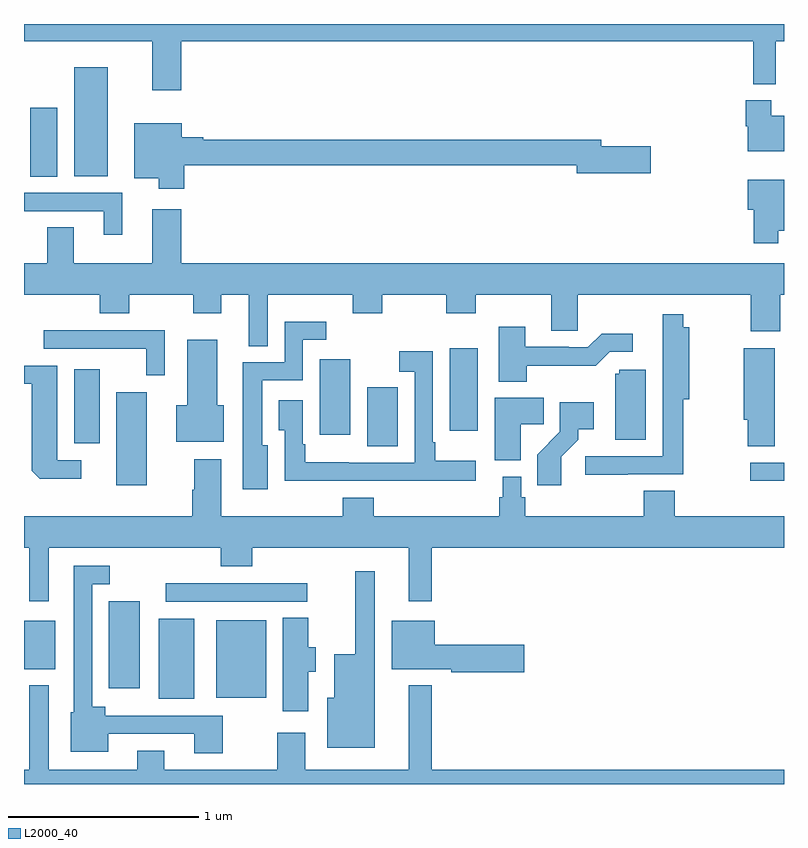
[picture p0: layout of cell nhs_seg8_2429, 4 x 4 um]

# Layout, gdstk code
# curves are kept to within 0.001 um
import gdstk
lib = gdstk.Library(unit=1e-6, precision=1e-09)
def R(c, l, rs):  # rectangles x0, y0, x1, y1
    for r in rs: c.add(gdstk.rectangle(r[:2], r[2:], *l))
def P(c, l, *ps):  # polygons
    for p in ps: c.add(gdstk.Polygon(p, *l))
L2000_40 = (2000, 40)

nhs_seg8_2429 = lib.new_cell('nhs_seg8_2429')
R(nhs_seg8_2429, L2000_40, [(263.708,1138.349,263.896,1138.771), (264.011,1138.355,264.274,1138.762), (263.447,1138.404,263.608,1138.861), (263,1138.505,263.164,1138.759), (263.745,1138.86,264.49,1138.956), (263.486,1139.472,263.647,1139.962), (266.823,1139.496,267,1139.592), (264.806,1139.677,264.967,1139.988), (263.264,1139.694,263.398,1140.082), (264.557,1139.739,264.718,1140.136), (265.241,1139.76,265.387,1140.193), (263.033,1141.096,263.176,1141.459), (263.264,1141.1,263.44,1141.672)])
P(nhs_seg8_2429, L2000_40, [(263,1141.808),(263.675,1141.808),(263.675,1141.551),(263.828,1141.551),(263.828,1141.808),(266.839,1141.808),(266.839,1141.583),(266.957,1141.583),(266.957,1141.808),(267,1141.808),(267,1141.9),(263,1141.9)],
  [(267,1141.417),(266.932,1141.417),(266.932,1141.498),(266.798,1141.498),(266.798,1141.362),(266.81,1141.362),(266.81,1141.229),(267,1141.229)],
  [(263.843,1141.156),(265.91,1141.156),(265.91,1141.114),(266.299,1141.114),(266.299,1141.256),(266.038,1141.256),(266.038,1141.292),(263.944,1141.292),(263.944,1141.303),(263.83,1141.303),(263.83,1141.378),(263.579,1141.378),(263.579,1141.088),(263.708,1141.088),(263.708,1141.034),(263.843,1141.034)],
  [(266.971,1140.812),(267,1140.812),(267,1141.081),(266.808,1141.081),(266.808,1140.923),(266.842,1140.923),(266.842,1140.747),(266.971,1140.747)],
  [(263.518,1141.011),(263,1141.011),(263,1140.915),(263.42,1140.915),(263.42,1140.792),(263.518,1140.792)],
  [(264.283,1140.476),(264.73,1140.476),(264.73,1140.377),(264.885,1140.377),(264.885,1140.476),(265.222,1140.476),(265.222,1140.377),(265.377,1140.377),(265.377,1140.476),(265.775,1140.476),(265.775,1140.286),(265.914,1140.286),(265.914,1140.476),(266.824,1140.476),(266.824,1140.282),(266.979,1140.282),(266.979,1140.476),(267,1140.476),(267,1140.64),(263.828,1140.64),(263.828,1140.925),(263.675,1140.925),(263.675,1140.64),(263.263,1140.64),(263.263,1140.83),(263.123,1140.83),(263.123,1140.64),(263,1140.64),(263,1140.476),(263.398,1140.476),(263.398,1140.377),(263.553,1140.377),(263.553,1140.476),(263.89,1140.476),(263.89,1140.377),(264.037,1140.377),(264.037,1140.476),(264.182,1140.476),(264.182,1140.205),(264.283,1140.205)],
  [(266.177,1139.529),(266.47,1139.529),(266.47,1139.924),(266.502,1139.924),(266.502,1140.304),(266.47,1140.304),(266.47,1140.373),(266.361,1140.373),(266.361,1139.625),(265.953,1139.625),(265.953,1139.527),(266.177,1139.527)],
  [(264.283,1139.683),(264.253,1139.683),(264.253,1140.024),(264.468,1140.024),(264.468,1140.237),(264.592,1140.237),(264.592,1140.334),(264.372,1140.334),(264.372,1140.12),(264.152,1140.12),(264.152,1139.451),(264.283,1139.451)],
  [(265.647,1140.102),(266.009,1140.101),(266.082,1140.174),(266.203,1140.174),(266.203,1140.271),(266.041,1140.271),(265.968,1140.198),(265.868,1140.198),(265.868,1140.201),(265.639,1140.201),(265.639,1140.307),(265.499,1140.307),(265.499,1140.017),(265.647,1140.017)],
  [(263.742,1140.288),(263.103,1140.288),(263.103,1140.192),(263.644,1140.192),(263.644,1140.051),(263.742,1140.051)],
  [(264.052,1139.893),(264.016,1139.893),(264.016,1140.238),(263.858,1140.238),(263.858,1139.893),(263.801,1139.893),(263.801,1139.702),(264.052,1139.702)],
  [(266.95,1140.193),(266.788,1140.193),(266.788,1139.817),(266.809,1139.817),(266.809,1139.677),(266.95,1139.677)],
  [(264.593,1139.496),(264.959,1139.496),(264.959,1139.495),(265.378,1139.495),(265.378,1139.602),(265.165,1139.602),(265.165,1139.698),(265.152,1139.698),(265.152,1140.178),(264.975,1140.178),(264.975,1140.069),(265.056,1140.069),(265.056,1139.592),(264.71,1139.592),(264.71,1139.593),(264.481,1139.593),(264.481,1139.689),(264.468,1139.689),(264.468,1139.92),(264.341,1139.92),(264.341,1139.761),(264.372,1139.761),(264.372,1139.495),(264.593,1139.495)],
  [(263.302,1139.604),(263.176,1139.604),(263.176,1140.102),(263,1140.102),(263,1140.006),(263.042,1140.006),(263.042,1139.548),(263.083,1139.507),(263.302,1139.507)],
  [(266.272,1140.081),(266.133,1140.081),(266.133,1140.06),(266.111,1140.06),(266.111,1139.712),(266.272,1139.712)],
  [(265.615,1139.794),(265.736,1139.794),(265.736,1139.932),(265.478,1139.932),(265.478,1139.603),(265.615,1139.603)],
  [(265.828,1139.623),(265.918,1139.713),(265.918,1139.768),(265.999,1139.768),(265.999,1139.908),(265.821,1139.908),(265.821,1139.753),(265.702,1139.634),(265.702,1139.472),(265.828,1139.472)],
  [(263.131,1139.144),(264.035,1139.144),(264.035,1139.045),(264.2,1139.045),(264.2,1139.144),(265.025,1139.144),(265.025,1138.863),(265.147,1138.863),(265.147,1139.144),(267,1139.144),(267,1139.308),(266.426,1139.308),(266.426,1139.444),(266.261,1139.444),(266.261,1139.308),(265.637,1139.308),(265.637,1139.409),(265.617,1139.409),(265.617,1139.518),(265.52,1139.518),(265.52,1139.409),(265.501,1139.409),(265.501,1139.308),(264.842,1139.308),(264.842,1139.407),(264.677,1139.407),(264.677,1139.308),(264.037,1139.308),(264.037,1139.608),(263.897,1139.608),(263.897,1139.45),(263.885,1139.45),(263.885,1139.308),(263,1139.308),(263,1139.144),(263.027,1139.144),(263.027,1138.863),(263.131,1138.863)],
  [(264.045,1138.26),(263.428,1138.26),(263.428,1138.306),(263.358,1138.306),(263.358,1138.952),(263.452,1138.952),(263.452,1139.049),(263.262,1139.049),(263.262,1138.278),(263.246,1138.278),(263.246,1138.07),(263.443,1138.07),(263.443,1138.164),(263.897,1138.164),(263.897,1138.062),(264.045,1138.062)],
  [(264.847,1139.02),(264.743,1139.02),(264.743,1138.582),(264.632,1138.582),(264.632,1138.354),(264.596,1138.354),(264.596,1138.091),(264.847,1138.091)],
  [(264.496,1138.492),(264.535,1138.492),(264.535,1138.621),(264.496,1138.621),(264.496,1138.775),(264.362,1138.775),(264.362,1138.284),(264.496,1138.284)],
  [(265.633,1138.634),(265.162,1138.634),(265.162,1138.759),(264.935,1138.759),(264.935,1138.505),(265.248,1138.505),(265.248,1138.487),(265.633,1138.487)],
  [(267,1137.976),(265.147,1137.976),(265.147,1138.42),(265.025,1138.42),(265.025,1137.976),(264.481,1137.976),(264.481,1138.171),(264.334,1138.171),(264.334,1137.976),(263.737,1137.976),(263.737,1138.075),(263.597,1138.075),(263.597,1137.976),(263.131,1137.976),(263.131,1138.42),(263.027,1138.42),(263.027,1137.976),(263,1137.976),(263,1137.9),(267,1137.9)])

lib.write_gds('nhs_seg8_2429.gds')
